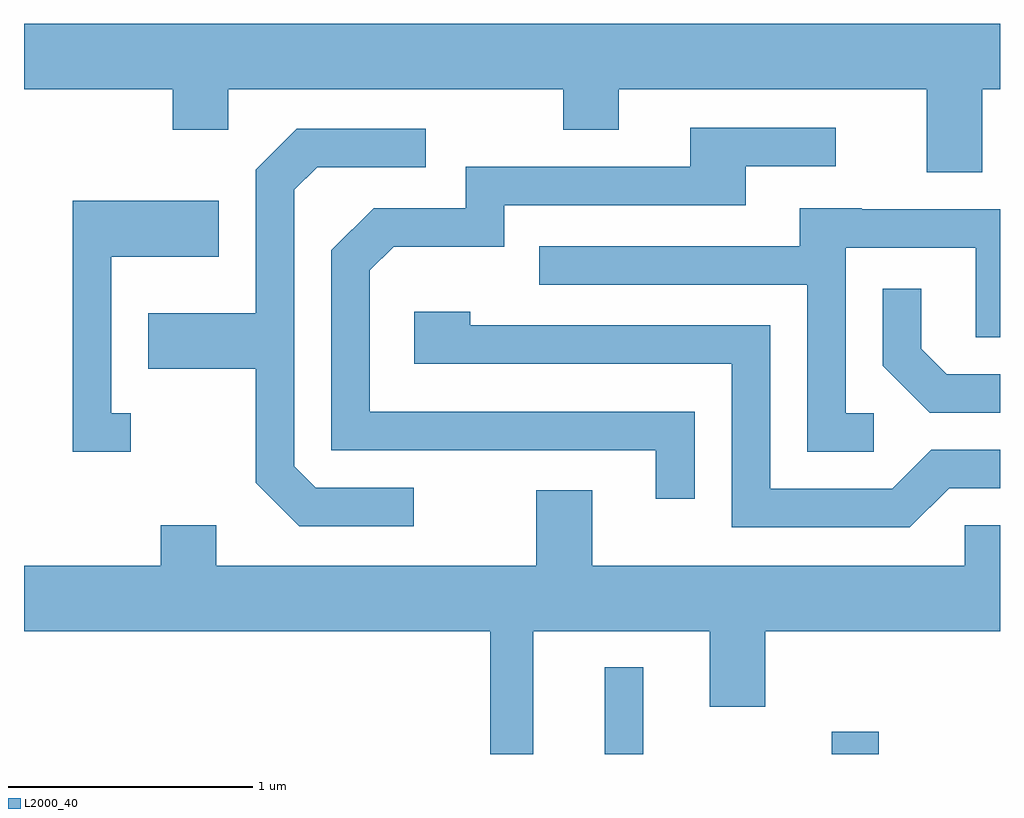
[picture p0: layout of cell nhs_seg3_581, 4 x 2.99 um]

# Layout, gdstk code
import gdstk
lib = gdstk.Library(unit=1e-6, precision=1e-09)
def R(c, l, rs):  # rectangles x0, y0, x1, y1
    for r in rs: c.add(gdstk.rectangle(r[:2], r[2:], *l))
def P(c, l, *ps):  # polygons
    for p in ps: c.add(gdstk.Polygon(p, *l))
L2000_40 = (2000, 40)

nhs_seg3_581 = lib.new_cell('nhs_seg3_581')
R(nhs_seg3_581, L2000_40, [(203.991,1189.892,204.149,1190.248), (204.921,1189.892,205.114,1189.984)])
P(nhs_seg3_581, L2000_40, [(205.539,1192.616),(205.611,1192.616),(205.611,1192.884),(201.611,1192.884),(201.611,1192.616),(202.221,1192.616),(202.221,1192.451),(202.449,1192.451),(202.449,1192.616),(203.821,1192.616),(203.821,1192.451),(204.049,1192.451),(204.049,1192.616),(205.311,1192.616),(205.311,1192.276),(205.539,1192.276)],
  [(204.359,1191.294),(203.029,1191.294),(203.029,1191.874),(203.127,1191.971),(203.579,1191.971),(203.579,1192.141),(204.569,1192.141),(204.569,1192.301),(204.938,1192.301),(204.938,1192.459),(204.341,1192.459),(204.341,1192.299),(203.421,1192.299),(203.421,1192.129),(203.044,1192.129),(202.871,1191.957),(202.871,1191.136),(204.201,1191.136),(204.201,1190.938),(204.359,1190.938)],
  [(203.208,1190.984),(202.807,1190.984),(202.719,1191.072),(202.719,1192.204),(202.812,1192.296),(203.258,1192.296),(203.258,1192.454),(202.729,1192.454),(202.561,1192.287),(202.561,1191.699),(202.121,1191.699),(202.121,1191.471),(202.561,1191.471),(202.561,1191.004),(202.739,1190.826),(203.208,1190.826)],
  [(202.048,1191.289),(201.969,1191.289),(201.969,1191.931),(202.409,1191.931),(202.409,1192.159),(201.811,1192.159),(201.811,1191.131),(202.048,1191.131)],
  [(205.093,1191.289),(204.979,1191.289),(204.979,1191.966),(205.511,1191.966),(205.511,1191.601),(205.611,1191.601),(205.611,1192.124),(205.045,1192.124),(205.045,1192.129),(204.791,1192.129),(204.791,1191.974),(203.723,1191.974),(203.723,1191.816),(204.821,1191.816),(204.821,1191.131),(205.093,1191.131)],
  [(205.611,1191.449),(205.392,1191.449),(205.289,1191.552),(205.289,1191.798),(205.131,1191.798),(205.131,1191.484),(205.324,1191.291),(205.611,1191.291)],
  [(205.402,1190.981),(205.611,1190.981),(205.611,1191.139),(205.329,1191.139),(205.169,1190.979),(204.669,1190.979),(204.669,1191.649),(203.439,1191.649),(203.439,1191.704),(203.211,1191.704),(203.211,1191.491),(204.511,1191.491),(204.511,1190.821),(205.242,1190.821)],
  [(203.699,1190.396),(204.421,1190.396),(204.421,1190.086),(204.649,1190.086),(204.649,1190.396),(205.611,1190.396),(205.611,1190.829),(205.466,1190.829),(205.466,1190.664),(203.939,1190.664),(203.939,1190.974),(203.711,1190.974),(203.711,1190.664),(202.399,1190.664),(202.399,1190.829),(202.171,1190.829),(202.171,1190.664),(201.611,1190.664),(201.611,1190.396),(203.521,1190.396),(203.521,1189.892),(203.699,1189.892)])

lib.write_gds('nhs_seg3_581.gds')
